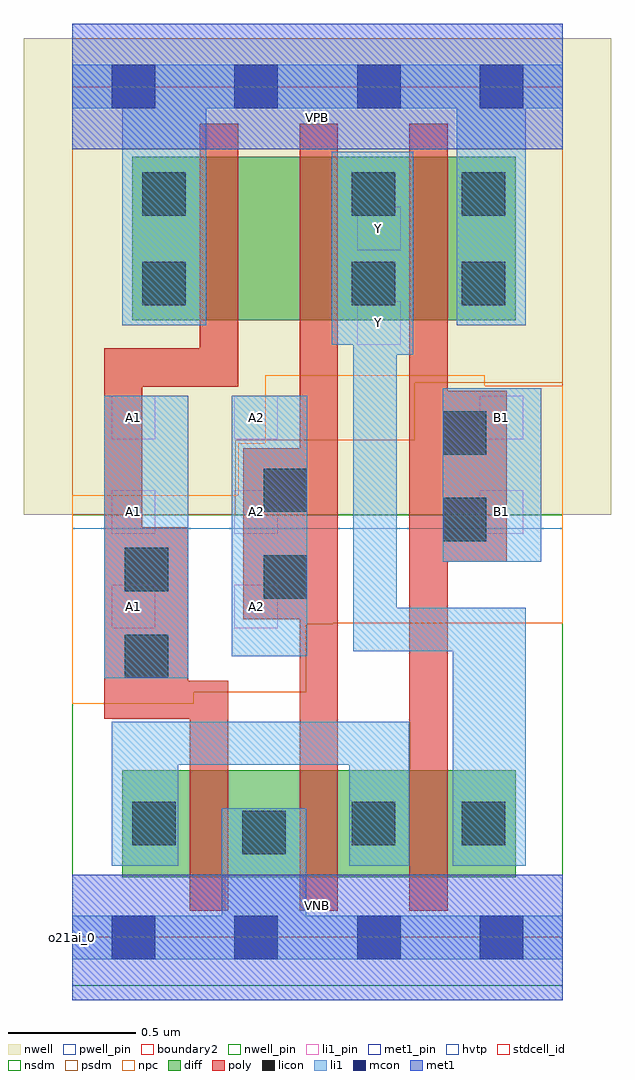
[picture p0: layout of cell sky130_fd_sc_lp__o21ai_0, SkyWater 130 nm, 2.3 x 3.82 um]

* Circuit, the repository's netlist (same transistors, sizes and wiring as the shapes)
* Copyright 2020 The SkyWater PDK Authors
*
* Licensed under the Apache License, Version 2.0 (the "License");
* you may not use this file except in compliance with the License.
* You may obtain a copy of the License at
*
*     https://www.apache.org/licenses/LICENSE-2.0
*
* Unless required by applicable law or agreed to in writing, software
* distributed under the License is distributed on an "AS IS" BASIS,
* WITHOUT WARRANTIES OR CONDITIONS OF ANY KIND, either express or implied.
* See the License for the specific language governing permissions and
* limitations under the License.
*
* SPDX-License-Identifier: Apache-2.0

.SUBCKT sky130_fd_sc_lp__o21ai_0 A1 A2 B1 VGND VNB VPB VPWR Y
*.PININFO A1:I A2:I B1:I VGND:I VNB:I VPB:I VPWR:I Y:O
MMPA0 VPWR A1 sndA1 VPB sky130_fd_pr__pfet_01v8_hvt m=1 w=0.64U l=0.15U mult=1
+ sa=0.265 sb=0.265 sd=0.28 area=0.063 perim=1.14
MMPA1 sndA1 A2 Y VPB sky130_fd_pr__pfet_01v8_hvt m=1 w=0.64U l=0.15U mult=1 sa=0.265
+ sb=0.265 sd=0.28 area=0.063 perim=1.14
MMPB0 VPWR B1 Y VPB sky130_fd_pr__pfet_01v8_hvt m=1 w=0.64U l=0.15U mult=1 sa=0.265
+ sb=0.265 sd=0.28 area=0.063 perim=1.14
MMNA0 pndA A1 VGND VNB sky130_fd_pr__nfet_01v8 m=1 w=0.42U l=0.15U mult=1 sa=0.265
+ sb=0.265 sd=0.28 area=0.063 perim=1.14
MMNA1 pndA A2 VGND VNB sky130_fd_pr__nfet_01v8 m=1 w=0.42U l=0.15U mult=1 sa=0.265
+ sb=0.265 sd=0.28 area=0.063 perim=1.14
MMNB0 Y B1 pndA VNB sky130_fd_pr__nfet_01v8 m=1 w=0.42U l=0.15U mult=1 sa=0.265
+ sb=0.265 sd=0.28 area=0.063 perim=1.14
.ENDS sky130_fd_sc_lp__o21ai_0

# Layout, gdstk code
import gdstk
lib = gdstk.Library(unit=1e-6, precision=1e-09)
def R(c, l, rs):  # rectangles x0, y0, x1, y1
    for r in rs: c.add(gdstk.rectangle(r[:2], r[2:], *l))
def A(c, l, x, y, w, h, nx, ny, dx, dy):  # array of equal rectangles
    R(c, l, [(x+i*dx, y+j*dy, x+i*dx+w, y+j*dy+h) for i in range(nx) for j in range(ny)])
def P(c, l, *ps):  # polygons
    for p in ps: c.add(gdstk.Polygon(p, *l))
nwell_pin = (64, 16)
nwell = (64, 20)
diff = (65, 20)
poly = (66, 20)
licon = (66, 44)
li1_pin = (67, 16)
li1 = (67, 20)
mcon = (67, 44)
met1_pin = (68, 16)
met1 = (68, 20)
hvtp = (78, 44)
stdcell_id = (81, 4)
nsdm = (93, 44)
psdm = (94, 20)
npc = (95, 20)
pwell_pin = (122, 16)
boundary2 = (236, 0)

sky130_fd_sc_lp__o21ai_0 = lib.new_cell('sky130_fd_sc_lp__o21ai_0')
R(sky130_fd_sc_lp__o21ai_0, nwell_pin, [(0,3.085,1.92,3.33)])
R(sky130_fd_sc_lp__o21ai_0, nwell, [(-0.19,1.655,2.11,3.52)])
R(sky130_fd_sc_lp__o21ai_0, diff, [(0.195,0.235,1.735,0.655), (0.235,2.415,1.735,3.055)])
P(sky130_fd_sc_lp__o21ai_0, poly, [(0.65,3.185),(0.5,3.185),(0.5,2.305),(0.125,2.305),(0.125,0.855),(0.46,0.855),(0.46,0.105),(0.61,0.105),(0.61,1.005),(0.455,1.005),(0.455,1.605),(0.275,1.605),(0.275,2.155),(0.65,2.155)],
  [(1.04,3.185),(0.89,3.185),(0.89,1.915),(0.67,1.915),(0.67,1.245),(0.89,1.245),(0.89,0.105),(1.04,0.105)],
  [(1.7,2.14),(1.47,2.14),(1.47,3.185),(1.32,3.185),(1.32,0.105),(1.47,0.105),(1.47,1.47),(1.7,1.47)])
R(sky130_fd_sc_lp__o21ai_0, licon, [(0.665,0.325,0.835,0.495), (0.235,0.36,0.405,0.53), (1.095,0.36,1.265,0.53), (1.525,0.36,1.695,0.53), (0.205,1.015,0.375,1.185), (0.75,1.325,0.92,1.495), (0.205,1.355,0.375,1.525), (1.45,1.55,1.62,1.72), (0.75,1.665,0.92,1.835), (1.45,1.89,1.62,2.06), (0.275,2.475,0.445,2.645), (1.095,2.475,1.265,2.645), (1.525,2.475,1.695,2.645), (0.275,2.825,0.445,2.995), (1.095,2.825,1.265,2.995), (1.525,2.825,1.695,2.995)])
A(sky130_fd_sc_lp__o21ai_0, li1_pin, 0.155, 1.21, 0.17, 0.17, 1, 3, 0, 0.37)
A(sky130_fd_sc_lp__o21ai_0, li1_pin, 0.635, 1.21, 0.17, 0.17, 1, 3, 0, 0.37)
R(sky130_fd_sc_lp__o21ai_0, li1_pin, [(1.595,1.58,1.765,1.75), (1.595,1.95,1.765,2.12), (1.115,2.32,1.285,2.49), (1.115,2.69,1.285,2.86)])
R(sky130_fd_sc_lp__o21ai_0, li1, [(0.125,1.015,0.455,2.12), (0.625,1.1,0.92,2.12), (1.45,1.47,1.835,2.15)])
P(sky130_fd_sc_lp__o21ai_0, li1, [(0.195,2.395),(0.195,3.245),(0,3.245),(0,3.415),(1.92,3.415),(1.92,3.245),(1.775,3.245),(1.775,2.395),(1.505,2.395),(1.505,3.245),(0.525,3.245),(0.525,2.395)],
  [(0.585,0.085),(0.585,0.505),(0.915,0.505),(0.915,0.085),(1.92,0.085),(1.92,-0.085),(0,-0.085),(0,0.085)],
  [(1.015,2.32),(1.015,3.075),(1.335,3.075),(1.335,2.28),(1.27,2.28),(1.27,1.29),(1.775,1.29),(1.775,0.28),(1.49,0.28),(1.49,1.12),(1.1,1.12),(1.1,2.32)],
  [(1.085,0.675),(0.415,0.675),(0.415,0.28),(0.155,0.28),(0.155,0.845),(1.32,0.845),(1.32,0.28),(1.085,0.28)])
A(sky130_fd_sc_lp__o21ai_0, mcon, 0.155, -0.085, 0.17, 0.17, 4, 2, 0.48, 3.33)
R(sky130_fd_sc_lp__o21ai_0, met1_pin, [(0,0,1.92,0.245), (0,3.085,1.92,3.33)])
R(sky130_fd_sc_lp__o21ai_0, met1, [(0,-0.245,1.92,0.245), (0,3.085,1.92,3.575)])
R(sky130_fd_sc_lp__o21ai_0, hvtp, [(0,1.6,1.92,3.33)])
R(sky130_fd_sc_lp__o21ai_0, stdcell_id, [(0,0,1.92,3.33)])
R(sky130_fd_sc_lp__o21ai_0, nsdm, [(0,-0.19,1.92,1.655)])
P(sky130_fd_sc_lp__o21ai_0, psdm, [(1.92,3.52),(0,3.52),(0,1.655),(0.64,1.655),(0.64,1.945),(1.34,1.945),(1.34,2.17),(1.92,2.17)])
P(sky130_fd_sc_lp__o21ai_0, npc, [(1.92,2.16),(1.615,2.16),(1.615,2.2),(0.755,2.2),(0.755,1.935),(0.65,1.935),(0.65,1.73),(0,1.73),(0,0.915),(0.475,0.915),(0.475,0.96),(0.915,0.96),(0.915,1.225),(1.02,1.225),(1.02,1.23),(1.92,1.23)])
R(sky130_fd_sc_lp__o21ai_0, pwell_pin, [(0,0,1.92,0.245)])
R(sky130_fd_sc_lp__o21ai_0, boundary2, [(0,0,1.92,3.33)])
sky130_fd_sc_lp__o21ai_0.add(gdstk.Label('VNB', (0.96,0.123), layer=64, texttype=59))
sky130_fd_sc_lp__o21ai_0.add(gdstk.Label('VPB', (0.96,3.208), layer=64, texttype=5))
sky130_fd_sc_lp__o21ai_0.add(gdstk.Label('o21ai_0', (0,0), layer=83, texttype=44))
sky130_fd_sc_lp__o21ai_0.add(gdstk.Label('VPWR', (0.96,3.208), layer=68, texttype=5))
sky130_fd_sc_lp__o21ai_0.add(gdstk.Label('VGND', (0.96,0.123), layer=68, texttype=5))
sky130_fd_sc_lp__o21ai_0.add(gdstk.Label('A1', (0.24,1.295), layer=67, texttype=5))
sky130_fd_sc_lp__o21ai_0.add(gdstk.Label('A1', (0.24,1.665), layer=67, texttype=5))
sky130_fd_sc_lp__o21ai_0.add(gdstk.Label('A1', (0.24,2.035), layer=67, texttype=5))
sky130_fd_sc_lp__o21ai_0.add(gdstk.Label('A2', (0.72,1.295), layer=67, texttype=5))
sky130_fd_sc_lp__o21ai_0.add(gdstk.Label('A2', (0.72,1.665), layer=67, texttype=5))
sky130_fd_sc_lp__o21ai_0.add(gdstk.Label('A2', (0.72,2.035), layer=67, texttype=5))
sky130_fd_sc_lp__o21ai_0.add(gdstk.Label('Y', (1.2,2.405), layer=67, texttype=5))
sky130_fd_sc_lp__o21ai_0.add(gdstk.Label('Y', (1.2,2.775), layer=67, texttype=5))
sky130_fd_sc_lp__o21ai_0.add(gdstk.Label('B1', (1.68,1.665), layer=67, texttype=5))
sky130_fd_sc_lp__o21ai_0.add(gdstk.Label('B1', (1.68,2.035), layer=67, texttype=5))

lib.write_gds('sky130_fd_sc_lp__o21ai_0.gds')
